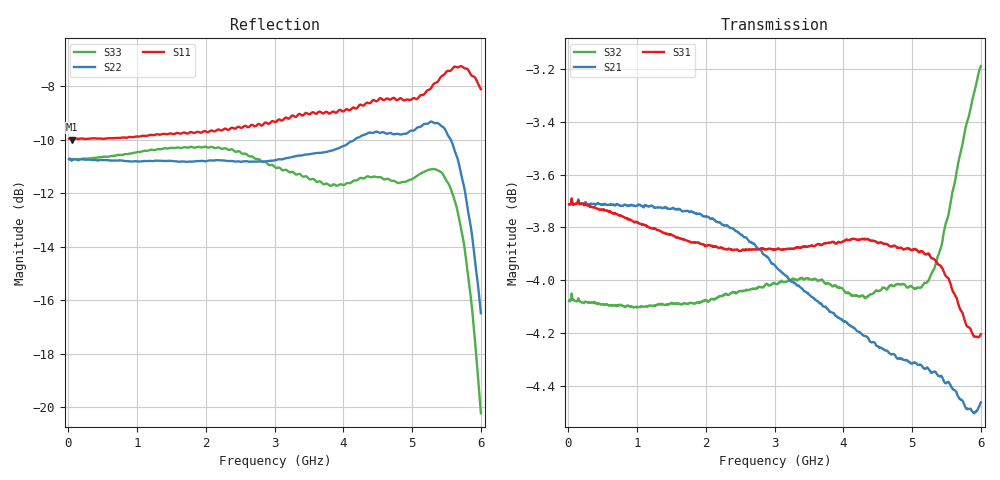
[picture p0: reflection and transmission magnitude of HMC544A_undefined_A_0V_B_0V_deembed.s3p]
! Device:	HMC544A
! Description:	GaAs MMIC SPDT Reflective Switch
! Package:	6-Lead Small Outline Transistor Package
! Frequency:	DC -  4 GHz
! Ports:
! RFC = Port 1
! RF1 = Port 2
! RF2 = Port 3
! State: Undefined
! Control Voltages:
! A  = 0 V
! B  = 0 V
! Data:	Data was collected using a calibrated network analyzer with AFR software.
!	Fixtures were calculated using AFR and fixturing was applied to collect
!	this Deembedded  S Parameter data of HMC544A.
! Note:	Analog Devices supplies this data as a sample of measured data at the package pin
!	for this product.  Your particular data for this product may vary.
!	Data was taken at 25 degrees C.
!	Analog Devices reserves the right to change this data at anytime.
# Hz S  dB  R 50
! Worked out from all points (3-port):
!   801 points, 10 MHz to 6 GHz, reference 50 ohm
!   strongest paths, dB at 10 MHz, 1.508 GHz, 3.005 GHz, 4.503 GHz, 6 GHz:
!     S31: -3.7, -3.8, -3.9, -3.9, -4.2
!     S21: -3.7, -3.7, -3.9, -4.3, -4.5
!     S32: -4.1, -4.1, -4.0, -4.0, -3.2
!   lowest |S11| = -10.0 dB at 47.44 MHz (marker M1), VSWR 1.93, Z = 26 + j0.219 ohm
!   |S11| at or under -10 dB: nowhere
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1e7  -9.96 179.9  -3.71 -0.2  -3.71 -0.2
     -3.71 -0.2  -10.73 179.8  -4.08 -0.2
     -3.71 -0.2  -4.08 -0.2  -10.71 179.8
4.74375e7  -9.99 179.3  -3.69 -0.6  -3.69 -0.6
           -3.69 -0.6  -10.78 178.6  -4.06 -1.0
           -3.69 -0.6  -4.05 -1.0  -10.76 178.6
1.5674e9  -9.75 159.2  -3.73 -18.6  -3.84 -17.2
          -3.73 -18.6  -10.81 134.7  -4.09 -28.6
          -3.84 -17.1  -4.09 -28.6  -10.30 138.8
3.005e9  -9.34 147.7  -3.94 -36.7  -3.88 -32.5
         -3.94 -36.7  -10.76 100.3  -4.01 -54.4
         -3.88 -32.5  -4.01 -54.4  -11.02 110.2
3.978375e9  -8.93 138.8  -4.15 -48.5  -3.86 -43.9
            -4.15 -48.5  -10.25 74.3  -4.03 -72.3
            -3.86 -43.8  -4.03 -72.2  -11.67 81.2
5.094012e9  -8.42 128.2  -4.32 -62.2  -3.90 -58.2
            -4.32 -62.2  -9.53 49.0  -4.03 -92.2
            -3.89 -58.2  -4.03 -92.1  -11.31 49.7
5.43095e9  -7.62 128.8  -4.36 -66.5  -3.95 -62.6
           -4.37 -66.5  -9.50 48.4  -3.87 -98.9
           -3.95 -62.6  -3.86 -98.9  -11.23 49.6
5.745425e9  -7.30 138.2  -4.46 -71.4  -4.14 -67.6
            -4.46 -71.4  -11.64 51.4  -3.47 -103.8
            -4.13 -67.5  -3.47 -103.8  -13.76 54.6
5.865225e9  -7.60 143.2  -4.49 -73.7  -4.20 -70.0
            -4.49 -73.7  -13.45 49.6  -3.33 -105.2
            -4.20 -70.0  -3.33 -105.2  -16.16 52.8
6e9  -8.11 149.4  -4.46 -76.7  -4.21 -73.2
     -4.46 -76.7  -16.48 38.8  -3.19 -106.8
     -4.20 -73.1  -3.19 -106.7  -20.22 38.0
